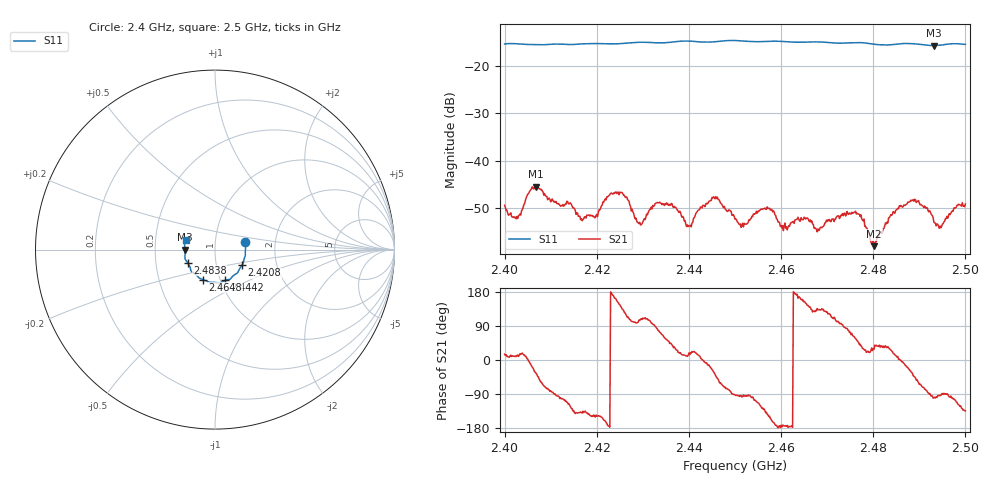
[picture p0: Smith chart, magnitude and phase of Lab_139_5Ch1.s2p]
# Hz S RI R 50
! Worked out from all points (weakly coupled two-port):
!   601 points, 2.4 GHz to 2.5 GHz, reference 50 ohm
!   highest |S21| = -45.56 dB at 2.4068 GHz (marker M1); lowest = -58.2 dB at 2.4802 GHz (marker M2)
!   lowest |S11| = -15.6 dB at 2.4932 GHz (marker M3), VSWR 1.40, Z = 35.8 - j0.0794 ohm
!   |S11| at or under -10 dB: start of sweep to end of sweep
!   S12 and S22 are empty: the file has one direction only
!   S11 on the Smith chart (normalised r, x): 2.4 GHz: 1.40, +0.12; 2.4208 GHz: 1.33, -0.24; 2.4442 GHz: 1.05, -0.37; 2.4648 GHz: 0.83, -0.29; 2.4838 GHz: 0.73, -0.11; 2.5 GHz: 0.72, +0.08
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2.4e9  0.1677 0.0413  0.00323 0.000881  0 0  0 0
2.403e9  0.1714 0.0243  0.00255 0.000414  0 0  0 0
2.406833e9  0.1695 -0.008  0.00429 -0.00306  0 0  0 0
2.416667e9  0.1589 -0.0679  -0.00181 -0.00159  0 0  0 0
2.420833e9  0.1506 -0.0873  -0.00269 -0.00157  0 0  0 0
2.4255e9  0.1346 -0.1112  -0.00321 0.00324  0 0  0 0
2.429333e9  0.1263 -0.1282  -0.00056 0.00213  0 0  0 0
2.433333e9  0.1079 -0.1405  0.000789 0.00347  0 0  0 0
2.44e9  0.082 -0.1659  0.00192 0.000642  0 0  0 0
2.444167e9  0.0566 -0.1715  0.00345 -0.000841  0 0  0 0
2.45e9  0.0247 -0.1862  -8.97e-05 -0.00239  0 0  0 0
2.457e9  -0.02 -0.1823  -0.0026 -0.0019  0 0  0 0
2.460167e9  -0.0362 -0.18  -0.00192 -0.000116  0 0  0 0
2.464833e9  -0.0683 -0.1667  -0.00213 0.00103  0 0  0 0
2.466667e9  -0.08 -0.1627  -0.00154 0.00169  0 0  0 0
2.476333e9  -0.1293 -0.1227  0.00159 0.00219  0 0  0 0
2.480167e9  -0.1377 -0.1025  0.00109 0.000581  0 0  0 0
2.483333e9  -0.1505 -0.0762  0.00208 0.00132  0 0  0 0
2.483833e9  -0.1532 -0.072  0.00239 0.00117  0 0  0 0
2.488667e9  -0.1677 -0.0449  0.00287 -0.00255  0 0  0 0
2.493167e9  -0.1659 -0.00108  -0.000386 -0.00217  0 0  0 0
2.5e9  -0.1621 0.053  -0.0024 -0.00248  0 0  0 0
